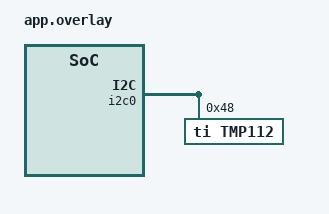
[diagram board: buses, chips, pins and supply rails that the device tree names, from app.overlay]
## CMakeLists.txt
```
# Copyright (c) 2026, Iomico
# SPDX-License-Identifier: Apache-2.0

cmake_minimum_required(VERSION 3.28.0)
find_package(Zephyr REQUIRED HINTS $ENV{ZEPHYR_BASE})
project(tmp112)

target_sources(app PRIVATE
  src/main.c
  src/tmp112_emul.c
)

target_include_directories(app PRIVATE ${ZEPHYR_BASE}/drivers/sensor/ti/tmp112)
```

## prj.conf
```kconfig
# Copyright (c) 2026, Iomico
# SPDX-License-Identifier: Apache-2.0

CONFIG_ZTEST=y
CONFIG_SENSOR=y
CONFIG_TMP112_SAMPLING_FREQUENCY_RUNTIME=y
CONFIG_I2C=y
CONFIG_I2C_EMUL=y
CONFIG_EMUL=y
```

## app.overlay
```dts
/*
 * Copyright (c) 2026, Iomico
 *
 * SPDX-License-Identifier: Apache-2.0
 */

&i2c0 {
	status = "okay";

	tmp112: temperature-sensor@48 {
		compatible = "ti,tmp112";
		reg = <0x48>;
		conversion-rate = <0>;
	};
};
```

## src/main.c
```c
/*
 * Copyright (c) 2026, Iomico
 *
 * SPDX-License-Identifier: Apache-2.0
 */

#include <errno.h>

#include <zephyr/device.h>
#include <zephyr/drivers/emul.h>
#include <zephyr/drivers/sensor.h>
#include <zephyr/ztest.h>

#include "tmp112.h"
#include "tmp112_emul.h"

struct tmp112_fixture {
	const struct device *dev;
	struct tmp112_emul_data *data;
};

static void *tmp112_setup(void)
{
	static struct tmp112_fixture fixture = {
		.dev = DEVICE_DT_GET(DT_NODELABEL(tmp112)),
	};
	const struct emul *emul = EMUL_DT_GET(DT_NODELABEL(tmp112));

	zassert_true(device_is_ready(fixture.dev), "TMP112 initialization failed");
	fixture.data = emul->data;

	return &fixture;
}

static void tmp112_before(void *fixture_ptr)
{
	struct tmp112_fixture *fixture = fixture_ptr;
	const struct sensor_value frequency = {0};
	struct sensor_value temperature;

	/* Restore both driver and emulator state through the public API before each test. */
	fixture->data->fail_config_write = false;
	zassert_ok(sensor_attr_set(fixture->dev, SENSOR_CHAN_AMBIENT_TEMP,
				   SENSOR_ATTR_SAMPLING_FREQUENCY, &frequency));
	zassert_true((fixture->data->regs[TMP112_REG_CONFIG] & TMP112_CONFIG_SD) != 0U);
	fixture->data->one_shot_count = 0;
	zassert_ok(sensor_sample_fetch(fixture->dev));
	zassert_equal(fixture->data->one_shot_count, 1, "Initial one-shot conversion missing");
	zassert_ok(sensor_channel_get(fixture->dev, SENSOR_CHAN_AMBIENT_TEMP, &temperature));
	zassert_equal(temperature.val1, 25);
	zassert_equal(temperature.val2, 0);
	fixture->data->config_write_count = 0;
	fixture->data->one_shot_count = 0;
}

ZTEST_F(tmp112, test_invalid_frequency_preserves_one_shot)
{
	const struct sensor_value frequency = {.val1 = 2};
	uint16_t config = fixture->data->regs[TMP112_REG_CONFIG];

	zassert_equal(sensor_attr_set(fixture->dev, SENSOR_CHAN_AMBIENT_TEMP,
				      SENSOR_ATTR_SAMPLING_FREQUENCY, &frequency),
		      -ENOTSUP);
	zassert_equal(fixture->data->config_write_count, 0,
		      "Unsupported frequency attempted a configuration write");
	zassert_equal(fixture->data->regs[TMP112_REG_CONFIG], config);
	zassert_ok(sensor_sample_fetch(fixture->dev));
	zassert_equal(fixture->data->one_shot_count, 1,
		      "Fetch did not trigger one-shot after rejecting the frequency");
}

ZTEST_F(tmp112, test_config_write_error_preserves_one_shot)
{
	const struct sensor_value frequency = {.val1 = 4};
	uint16_t config = fixture->data->regs[TMP112_REG_CONFIG];

	fixture->data->fail_config_write = true;
	zassert_equal(sensor_attr_set(fixture->dev, SENSOR_CHAN_AMBIENT_TEMP,
				      SENSOR_ATTR_SAMPLING_FREQUENCY, &frequency),
		      -EIO);
	zassert_equal(fixture->data->config_write_count, 1,
		      "Valid frequency did not attempt a configuration write");
	zassert_equal(fixture->data->regs[TMP112_REG_CONFIG], config);
	fixture->data->fail_config_write = false;
	zassert_ok(sensor_sample_fetch(fixture->dev));
	zassert_equal(fixture->data->one_shot_count, 1,
		      "Fetch did not trigger one-shot after the configuration write failed");
}

ZTEST_F(tmp112, test_config_write_error_preserves_periodic)
{
	const struct sensor_value periodic = {.val1 = 4};
	const struct sensor_value one_shot = {0};
	uint16_t config;

	zassert_ok(sensor_attr_set(fixture->dev, SENSOR_CHAN_AMBIENT_TEMP,
				   SENSOR_ATTR_SAMPLING_FREQUENCY, &periodic));
	config = fixture->data->regs[TMP112_REG_CONFIG];
	zassert_equal(config & TMP112_CONFIG_SD, 0);

	fixture->data->fail_config_write = true;
	zassert_equal(sensor_attr_set(fixture->dev, SENSOR_CHAN_AMBIENT_TEMP,
				      SENSOR_ATTR_SAMPLING_FREQUENCY, &one_shot),
		      -EIO);
	zassert_equal(fixture->data->config_write_count, 2,
		      "One-shot request did not attempt a configuration write");
	zassert_equal(fixture->data->regs[TMP112_REG_CONFIG], config);
	fixture->data->fail_config_write = false;
	zassert_ok(sensor_sample_fetch(fixture->dev));
	/* The sensor is still converting continuously, so fetch must not write OS. */
	zassert_equal(fixture->data->config_write_count, 2,
		      "Periodic fetch wrote the configuration after the write failed");
	zassert_equal(fixture->data->one_shot_count, 0);
}

ZTEST_F(tmp112, test_successful_sampling_mode_transitions)
{
	const struct sensor_value periodic = {.val1 = 4};
	const struct sensor_value one_shot = {0};

	zassert_ok(sensor_attr_set(fixture->dev, SENSOR_CHAN_AMBIENT_TEMP,
				   SENSOR_ATTR_SAMPLING_FREQUENCY, &periodic));
	zassert_equal(fixture->data->regs[TMP112_REG_CONFIG] & TMP112_CONFIG_SD, 0);
	zassert_equal(fixture->data->regs[TMP112_REG_CONFIG] & TMP112_CONV_RATE_MASK,
		      TMP112_CONV_RATE(TMP112_CONV_RATE_4));
	zassert_equal(fixture->data->config_write_count, 1);
	zassert_ok(sensor_sample_fetch(fixture->dev));
	/* A periodic fetch must not write OS, even if shutdown is already cleared. */
	zassert_equal(fixture->data->config_write_count, 1,
		      "Periodic fetch unexpectedly wrote the configuration");
	zassert_equal(fixture->data->one_shot_count, 0);

	zassert_ok(sensor_attr_set(fixture->dev, SENSOR_CHAN_AMBIENT_TEMP,
				   SENSOR_ATTR_SAMPLING_FREQUENCY, &one_shot));
	zassert_true((fixture->data->regs[TMP112_REG_CONFIG] & TMP112_CONFIG_SD) != 0U);
	zassert_equal(fixture->data->config_write_count, 2);
	zassert_equal(fixture->data->one_shot_count, 0);
	zassert_ok(sensor_sample_fetch(fixture->dev));
	zassert_equal(fixture->data->config_write_count, 3);
	zassert_equal(fixture->data->one_shot_count, 1,
		      "Fetch did not trigger a conversion after returning to one-shot");
}

ZTEST_SUITE(tmp112, NULL, tmp112_setup, tmp112_before, NULL, NULL);
```

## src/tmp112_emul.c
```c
/*
 * Copyright (c) 2026, Iomico
 *
 * SPDX-License-Identifier: Apache-2.0
 */

#define DT_DRV_COMPAT ti_tmp112

#include <errno.h>

#include <zephyr/device.h>
#include <zephyr/drivers/emul.h>
#include <zephyr/drivers/i2c.h>
#include <zephyr/drivers/i2c_emul.h>
#include <zephyr/sys/byteorder.h>
#include <zephyr/sys/util.h>

#include "tmp112.h"
#include "tmp112_emul.h"

static int tmp112_emul_transfer(const struct emul *target, struct i2c_msg *msgs, int num_msgs,
				int addr)
{
	struct tmp112_emul_data *data = target->data;
	uint16_t value;
	uint8_t reg;

	ARG_UNUSED(addr);

	if ((msgs == NULL) || (num_msgs < 1) || (num_msgs > 2) ||
	    ((msgs[0].flags & I2C_MSG_READ) != 0U) || (msgs[0].len < 1U)) {
		return -EIO;
	}

	reg = msgs[0].buf[0];
	if (reg >= ARRAY_SIZE(data->regs)) {
		return -EIO;
	}

	if (num_msgs == 2) {
		if ((msgs[0].len != 1U) || (msgs[1].len != sizeof(value)) ||
		    ((msgs[1].flags & I2C_MSG_READ) == 0U)) {
			return -EIO;
		}

		value = data->regs[reg];
		if (reg == TMP112_REG_CONFIG) {
			/* Conversions complete immediately; OS reads as ready. */
			value |= TMP112_ONE_SHOT;
		}
		sys_put_be16(value, msgs[1].buf);
		return 0;
	}

	if ((msgs[0].len != 3U) || (reg == TMP112_REG_TEMPERATURE)) {
		return -EIO;
	}

	value = sys_get_be16(&msgs[0].buf[1]);
	if (reg == TMP112_REG_CONFIG) {
		data->config_write_count++;
		if (data->fail_config_write) {
			return -EIO;
		}

		if ((value & (TMP112_CONFIG_SD | TMP112_ONE_SHOT)) ==
		    (TMP112_CONFIG_SD | TMP112_ONE_SHOT)) {
			data->one_shot_count++;
		}
		/* OS is a command/status bit, not part of the stored configuration. */
		value &= ~TMP112_ONE_SHOT;
	}
	data->regs[reg] = value;

	return 0;
}

static int tmp112_emul_init(const struct emul *target, const struct device *parent)
{
	struct tmp112_emul_data *data = target->data;

	ARG_UNUSED(parent);
	/* A valid 25 degree Celsius sample in the normal 12-bit format. */
	data->regs[TMP112_REG_TEMPERATURE] = 0x1900;

	return 0;
}

static const struct i2c_emul_api tmp112_emul_api = {
	.transfer = tmp112_emul_transfer,
};

#define TMP112_EMUL_DEFINE(inst)                                                                   \
	static struct tmp112_emul_data tmp112_emul_data_##inst;                                    \
	EMUL_DT_INST_DEFINE(inst, tmp112_emul_init, &tmp112_emul_data_##inst, NULL,                \
			    &tmp112_emul_api, NULL)

DT_INST_FOREACH_STATUS_OKAY(TMP112_EMUL_DEFINE)
```

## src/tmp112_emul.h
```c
/*
 * Copyright (c) 2026, Iomico
 *
 * SPDX-License-Identifier: Apache-2.0
 */

#ifndef TESTS_DRIVERS_SENSOR_TMP112_EMUL_H_
#define TESTS_DRIVERS_SENSOR_TMP112_EMUL_H_

#include <stdbool.h>
#include <stdint.h>

struct tmp112_emul_data {
	uint16_t regs[4];
	/* Count attempted configuration writes, including injected failures. */
	uint32_t config_write_count;
	uint32_t one_shot_count;
	bool fail_config_write;
};

#endif /* TESTS_DRIVERS_SENSOR_TMP112_EMUL_H_ */
```
